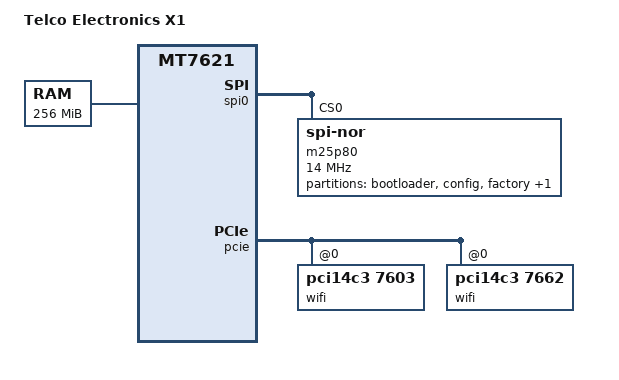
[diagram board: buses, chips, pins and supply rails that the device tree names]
/*
 *  BSD LICENSE
 *
 *  Copyright 2019 Nicholas Smith <mips171@icloud.com>
 *  Licensed to the public under the GNU GPL v2.0.
 *  All rights reserved.
 *
 *  Redistribution and use in source and binary forms, with or without
 *  modification, are permitted provided that the following conditions
 *  are met:
 *
 *    * Redistributions of source code must retain the above copyright
 *      notice, this list of conditions and the following disclaimer.
 *    * Redistributions in binary form must reproduce the above copyright
 *      notice, this list of conditions and the following disclaimer in
 *      the documentation and/or other materials provided with the
 *      distribution.
 *    * Neither the name of Broadcom Corporation nor the names of its
 *      contributors may be used to endorse or promote products derived
 *      from this software without specific prior written permission.
 *
 *  THIS SOFTWARE IS PROVIDED BY THE COPYRIGHT HOLDERS AND CONTRIBUTORS
 *  "AS IS" AND ANY EXPRESS OR IMPLIED WARRANTIES, INCLUDING, BUT NOT
 *  LIMITED TO, THE IMPLIED WARRANTIES OF MERCHANTABILITY AND FITNESS FOR
 *  A PARTICULAR PURPOSE ARE DISCLAIMED. IN NO EVENT SHALL THE COPYRIGHT
 *  OWNER OR CONTRIBUTORS BE LIABLE FOR ANY DIRECT, INDIRECT, INCIDENTAL,
 *  SPECIAL, EXEMPLARY, OR CONSEQUENTIAL DAMAGES (INCLUDING, BUT NOT
 *  LIMITED TO, PROCUREMENT OF SUBSTITUTE GOODS OR SERVICES; LOSS OF USE,
 *  DATA, OR PROFITS; OR BUSINESS INTERRUPTION) HOWEVER CAUSED AND ON ANY
 *  THEORY OF LIABILITY, WHETHER IN CONTRACT, STRICT LIABILITY, OR TORT
 *  (INCLUDING NEGLIGENCE OR OTHERWISE) ARISING IN ANY WAY OUT OF THE USE
 *  OF THIS SOFTWARE, EVEN IF ADVISED OF THE POSSIBILITY OF SUCH DAMAGE.
 */

/dts-v1/;

#include "Telco-Electronics-X1.dtsi"

#include <dt-bindings/gpio/gpio.h>
#include <dt-bindings/input/input.h>

/ {
	compatible = "telcoelectronics,x1", "mediatek,mt7621-soc";
	model = "Telco Electronics X1";

	memory@0 {
		device_type = "memory";
		reg = <0x0 0x10000000>;
	};
};

&spi0 {
	status = "okay";

	m25p80@0 {
		compatible = "jedec,spi-nor";
		reg = <0>;
		spi-max-frequency = <14000000>;
		m25p,chunked-io = <32>;

		partitions {
			compatible = "fixed-partitions";
			#address-cells = <1>;
			#size-cells = <1>;

		        partition@0 {
			        label = "bootloader";
			        reg = <0x0 0x30000>;
			        read-only;
		        };

		        partition@30000 {
			        label = "config";
			        reg = <0x30000 0x10000>;
			        read-only;
		        };

		        factory: partition@40000 {
			        label = "factory";
			        reg = <0x40000 0x10000>;
			        read-only;
		        };

		        firmware: partition@50000 {
			        compatible = "denx,uimage";
			        label = "firmware";
			        reg = <0x50000 0xfb0000>;
		        };
		};
	};
};

&ethernet {
	mtd-mac-address = <&factory 0xe006>;
	mediatek,portmap = "llllw";
};

&pcie {
	status = "okay";

        pcie0 {
	        wifi@0,0 {
	                compatible = "pci14c3,7603";
		        reg = <0x0000 0 0 0 0>;
		        mediatek,mtd-eeprom = <&factory 0x0000>;
		        ieee80211-freq-limit = <2400000 2500000>;
	        };
        };

        pcie1 {
	        wifi@0,0 {
	                compatible = "pci14c3,7662";
		        reg = <0x0000 0 0 0 0>;
		        mediatek,mtd-eeprom = <&factory 0x8000>;
		        ieee80211-freq-limit = <5000000 6000000>;
		        
		        led {
		                led-sources = <2>;
		            };
	        };
        };

};
